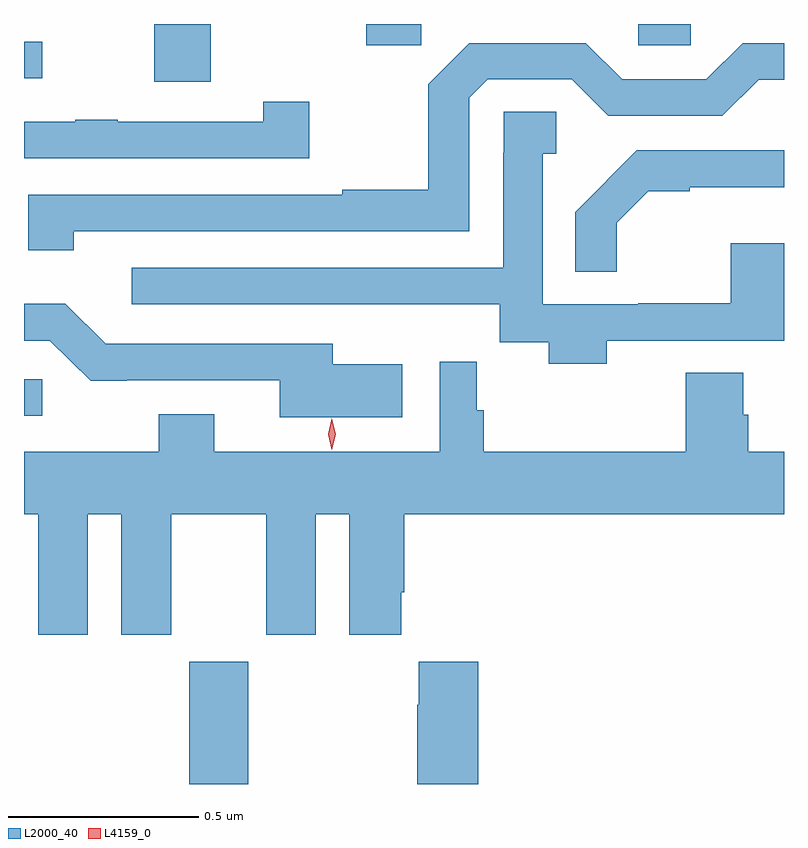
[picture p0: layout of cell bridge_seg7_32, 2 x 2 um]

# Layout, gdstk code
import gdstk
lib = gdstk.Library(unit=1e-6, precision=1e-09)
def R(c, l, rs):  # rectangles x0, y0, x1, y1
    for r in rs: c.add(gdstk.rectangle(r[:2], r[2:], *l))
def P(c, l, *ps):  # polygons
    for p in ps: c.add(gdstk.Polygon(p, *l))
L2000_40 = (2000, 40)
L4159_0 = (4159, 0)

bridge_seg7_32 = lib.new_cell('bridge_seg7_32')
R(bridge_seg7_32, L2000_40, [(934.843,1063.842,934.998,1064.164), (934.408,1064.811,934.456,1064.907), (934.751,1065.69,934.899,1065.842), (934.408,1065.699,934.456,1065.795), (935.308,1065.786,935.453,1065.842), (936.024,1065.786,936.162,1065.842)])
P(bridge_seg7_32, L2000_40, [(934.539,1065.297),(935.58,1065.297),(935.58,1065.648),(935.628,1065.696),(935.85,1065.696),(935.946,1065.6),(936.246,1065.6),(936.341,1065.695),(936.408,1065.695),(936.408,1065.792),(936.3,1065.792),(936.204,1065.696),(935.982,1065.696),(935.886,1065.792),(935.58,1065.792),(935.472,1065.683),(935.472,1065.406),(935.245,1065.406),(935.245,1065.393),(934.419,1065.393),(934.419,1065.246),(934.539,1065.246)],
  [(935.158,1065.637),(935.037,1065.637),(935.037,1065.585),(934.655,1065.585),(934.655,1065.59),(934.543,1065.59),(934.543,1065.585),(934.408,1065.585),(934.408,1065.489),(935.158,1065.489)],
  [(935.942,1065.009),(936.408,1065.009),(936.408,1065.265),(936.268,1065.265),(936.268,1065.107),(936.025,1065.107),(936.025,1065.105),(935.773,1065.105),(935.773,1065.5),(935.808,1065.5),(935.808,1065.611),(935.67,1065.611),(935.67,1065.503),(935.669,1065.503),(935.669,1065.201),(934.692,1065.201),(934.692,1065.105),(935.391,1065.105),(935.391,1065.104),(935.66,1065.104),(935.66,1065.005),(935.789,1065.005),(935.789,1064.948),(935.942,1064.948)],
  [(935.968,1065.319),(936.051,1065.402),(936.16,1065.402),(936.16,1065.413),(936.408,1065.413),(936.408,1065.51),(936.02,1065.51),(935.941,1065.431),(935.942,1065.43),(935.858,1065.347),(935.858,1065.19),(935.968,1065.19)],
  [(935.404,1064.947),(935.221,1064.947),(935.221,1065),(934.623,1065),(934.517,1065.106),(934.408,1065.106),(934.408,1065.009),(934.476,1065.009),(934.583,1064.903),(934.678,1064.903),(934.678,1064.904),(935.081,1064.904),(935.081,1064.807),(935.404,1064.807)],
  [(934.576,1064.552),(934.664,1064.552),(934.664,1064.235),(934.795,1064.235),(934.795,1064.552),(935.045,1064.552),(935.045,1064.235),(935.176,1064.235),(935.176,1064.552),(935.264,1064.552),(935.264,1064.235),(935.401,1064.235),(935.401,1064.347),(935.408,1064.347),(935.408,1064.552),(936.408,1064.552),(936.408,1064.716),(936.314,1064.716),(936.314,1064.814),(936.301,1064.814),(936.301,1064.924),(936.149,1064.924),(936.149,1064.716),(935.618,1064.716),(935.618,1064.826),(935.599,1064.826),(935.599,1064.953),(935.502,1064.953),(935.502,1064.716),(934.909,1064.716),(934.909,1064.815),(934.762,1064.815),(934.762,1064.716),(934.408,1064.716),(934.408,1064.552),(934.445,1064.552),(934.445,1064.235),(934.576,1064.235)],
  [(935.603,1064.164),(935.447,1064.164),(935.447,1064.051),(935.443,1064.051),(935.443,1063.842),(935.603,1063.842)])
P(bridge_seg7_32, L4159_0, [(935.218,1064.721),(935.218,1064.721),(935.208,1064.762),(935.218,1064.803),(935.218,1064.804),(935.218,1064.803),(935.228,1064.762),(935.218,1064.721)])

lib.write_gds('bridge_seg7_32.gds')
